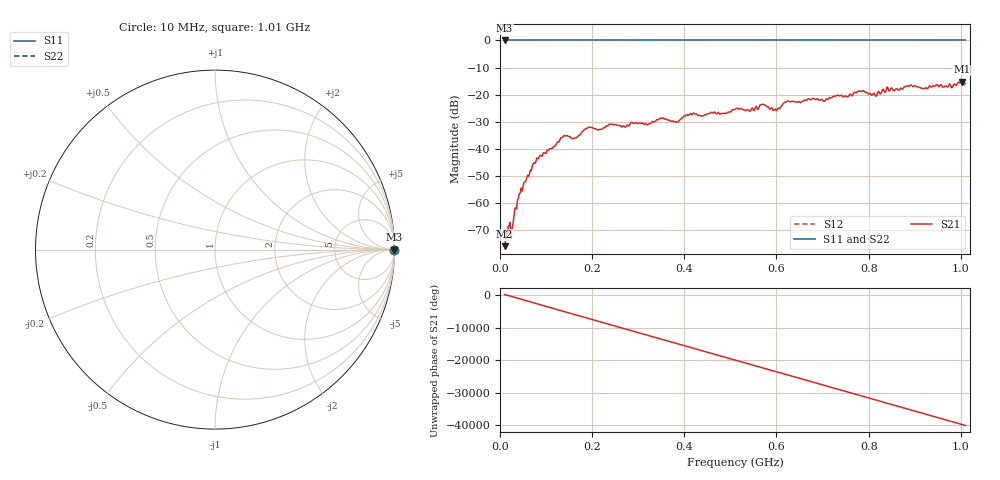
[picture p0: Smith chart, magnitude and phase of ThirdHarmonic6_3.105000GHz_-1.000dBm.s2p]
! 8/17/2025 9:10:23 AM
! C:\ANRITSUVNA\TEMP\TEMP.S2P
! CHANNEL.1
! TR.MEASUREMENT
! RAW.DATA
! RF.CORRECTION.OFF
! AVERAGING.OFF
! IF.BANDWIDTH: 5KHZ
! SWEEPTYPE:  FREQ.SWEEP(Linear)
! Reference Plane Port Info
! PORT:  PORT1  PORT2
! DISTANCE:  0  m  0  m
! TIME:  0  s  0  s
! PHASE.OFFSET:  0  deg.  0  deg.
! LOSS:  0  dB  0  dB
! REF.LOSS:  0  dB  0  dB
! REF.FREQ:  0  Hz  0  Hz
! Power Info
! POWER:  -20  dBm  -20  dBm
! EFF.POWER:  -20  dBm  -20  dBm
! SOURCE.ATTEN:  0  dB  0  dB
! TEST.ATTEN:  0  dB  0  dB
# GHZ S RI R 50.0
! FREQ.GHZ  S11RE  S11IM  S21RE  S21IM  S12RE  S12IM  S22RE  S22IM
!; PortSelection: Port_12
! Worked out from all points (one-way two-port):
!   501 points, 10 MHz to 1.01 GHz, reference 50 ohm
!   highest |S21| = -15.18 dB at 1.002 GHz (marker M1); lowest = -75.9 dB at 10 MHz (marker M2)
!   lowest |S11| = 0.0 dB at 10 MHz (marker M3)
!   |S11| at or under -10 dB: nowhere
!   |S22| runs from 0.0 to 0.0 dB; largest |S21 - S12| = 1.2
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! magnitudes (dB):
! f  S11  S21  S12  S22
! 10 MHz  0.0  -75.9  0.0  0.0
! 18 MHz  0.0  -68.4  0.0  0.0
! 28 MHz  0.0  -67.9  0.0  0.0
! 42 MHz  0.0  -56.5  0.0  0.0
! 76 MHz  0.0  -45.3  0.0  0.0
! 136 MHz  0.0  -35.7  0.0  0.0
! 162 MHz  0.0  -36.0  0.0  0.0
! 178 MHz  0.0  -33.7  0.0  0.0
! 194 MHz  0.0  -32.0  0.0  0.0
! 344 MHz  0.0  -29.3  0.0  0.0
! 382 MHz  0.0  -30.0  0.0  0.0
! 416 MHz  0.0  -27.4  0.0  0.0
! 510 MHz  0.0  -25.4  0.0  0.0
! 570 MHz  0.0  -23.5  0.0  0.0
! 596 MHz  0.0  -25.3  0.0  0.0
! 622 MHz  0.0  -22.6  0.0  0.0
! 678 MHz  0.0  -21.4  0.0  0.0
! 784 MHz  0.0  -18.8  0.0  0.0
! 814 MHz  0.0  -20.1  0.0  0.0
! 844 MHz  0.0  -18.6  0.0  0.0
! 1.002 GHz  0.0  -15.2  0.0  0.0
! 1.01 GHz  0.0  -15.9  0.0  0.0
